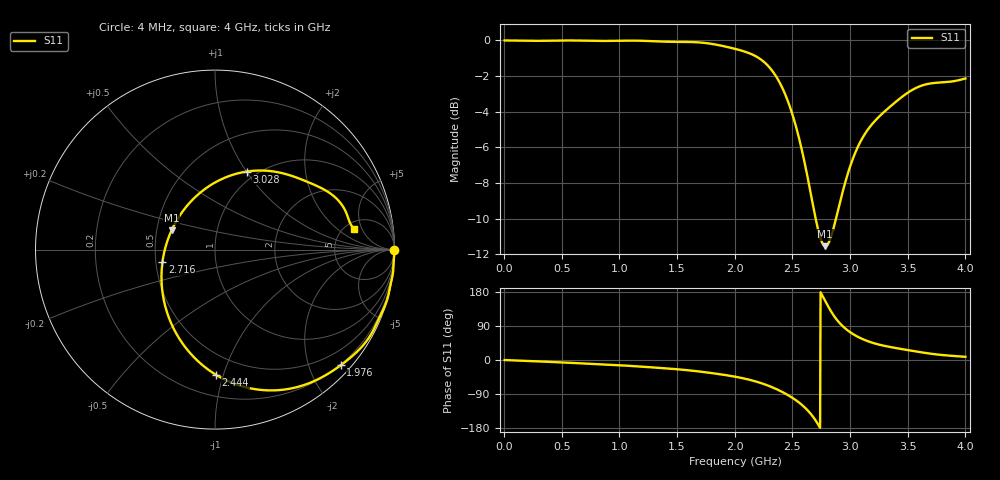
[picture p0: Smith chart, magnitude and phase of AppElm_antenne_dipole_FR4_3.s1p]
! TOUCHSTONE file generated by CST MICROWAVE STUDIO
! Date and time: Thu May 12 15:49:35 2022
! Project name: AppElm_antenne_dipole_FR4.cst
! Parameters = {L=32.98; e=0.035; f=2.45e+09; h=1.6; i=0.8; l1=4; lambda=122.449; ls=30; wl=1.7; ws=80}
! Header version: 2018
! Port assignment regex: !\s*Touchstone port\s*([0-9]+)\s*=\s*(CST MWS port|CST DS port)\s*([0-9]+|Zmin|Zmax)\s*\(\"(.*)\"\)(\s*mode\s*([0-9]+))?.*
! Touchstone port assignment:
! Touchstone port 1 = CST MWS port 1 ("")
# GHz S MA R 50
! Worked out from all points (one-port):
!   1000 points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, 4 MHz to 4 GHz, reference 50 ohm
!   lowest |S11| = -11.5 dB at 2.784 GHz (marker M1), VSWR 1.72, Z = 29.9 + j6.92 ohm
!   |S11| at or under -10 dB: 2.702 GHz to 2.878 GHz (176 MHz wide, 6.31 % of centre)
!   S11 on the Smith chart (normalised r, x): 4 MHz: open; 1.976 GHz: 0.19, -2.55; 2.444 GHz: 0.35, -0.94; 2.716 GHz: 0.54, -0.08; 3.028 GHz: 0.90, +1.00; 4 GHz: 6.04, +3.57
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0.004  1 -0.1
0.504  0.9998 -6.5
1.004  0.9983 -13.9
1.504  0.9908 -24.5
1.744  0.9838 -32.3
1.976  0.9518 -42.6
2.004  0.9469 -44.1
2.152  0.9133 -54.1
2.28  0.8546 -66.5
2.364  0.7874 -77.2
2.444  0.6973 -89.6
2.504  0.6141 -100.7
2.564  0.5211 -113.9
2.616  0.4378 -127.9
2.668  0.3593 -145.6
2.716  0.3009 -166.6
2.784  0.2648 156.0
2.828  0.2773 131.8
2.896  0.3343 102.2
2.948  0.3892 85.9
3.004  0.4467 72.7
3.028  0.4692 67.9
3.12  0.5413 53.7
3.212  0.5929 43.8
3.328  0.6442 35.4
3.504  0.7148 25.9
3.684  0.7562 17.2
4  0.7823 8.4
